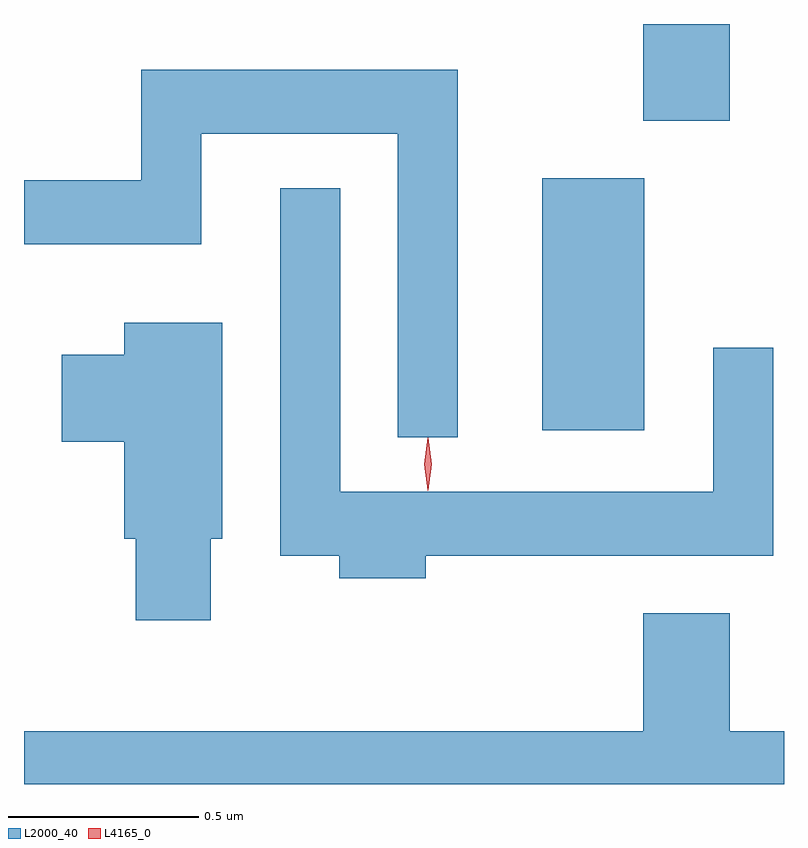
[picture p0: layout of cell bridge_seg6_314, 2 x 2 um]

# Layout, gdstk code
import gdstk
lib = gdstk.Library(unit=1e-6, precision=1e-09)
def R(c, l, rs):  # rectangles x0, y0, x1, y1
    for r in rs: c.add(gdstk.rectangle(r[:2], r[2:], *l))
def P(c, l, *ps):  # polygons
    for p in ps: c.add(gdstk.Polygon(p, *l))
L2000_40 = (2000, 40)
L4165_0 = (4165, 0)

bridge_seg6_314 = lib.new_cell('bridge_seg6_314')
R(bridge_seg6_314, L2000_40, [(1244.226,1562.196,1244.494,1562.859), (1244.491,1563.011,1244.719,1563.265)])
P(bridge_seg6_314, L2000_40, [(1244.004,1563.144),(1243.171,1563.144),(1243.171,1562.854),(1242.862,1562.854),(1242.862,1562.686),(1243.329,1562.686),(1243.329,1562.976),(1243.846,1562.976),(1243.846,1562.178),(1244.004,1562.178)],
  [(1243.919,1561.866),(1244.834,1561.866),(1244.834,1562.413),(1244.676,1562.413),(1244.676,1562.034),(1243.694,1562.034),(1243.694,1562.833),(1243.536,1562.833),(1243.536,1561.866),(1243.691,1561.866),(1243.691,1561.806),(1243.919,1561.806)],
  [(1243.354,1561.911),(1243.384,1561.911),(1243.384,1562.479),(1243.126,1562.479),(1243.126,1562.394),(1242.961,1562.394),(1242.961,1562.166),(1243.126,1562.166),(1243.126,1561.911),(1243.156,1561.911),(1243.156,1561.696),(1243.354,1561.696)],
  [(1244.862,1561.404),(1244.719,1561.404),(1244.719,1561.714),(1244.491,1561.714),(1244.491,1561.404),(1242.862,1561.404),(1242.862,1561.265),(1244.862,1561.265)])
P(bridge_seg6_314, L4165_0, [(1243.925,1562.037),(1243.924,1562.038),(1243.915,1562.107),(1243.924,1562.176),(1243.925,1562.176),(1243.926,1562.176),(1243.935,1562.107),(1243.926,1562.038)],
  [(1243.924,1562.04),(1243.924,1562.04),(1243.915,1562.106),(1243.924,1562.172),(1243.925,1562.173),(1243.925,1562.172),(1243.934,1562.106),(1243.925,1562.04)])

lib.write_gds('bridge_seg6_314.gds')
